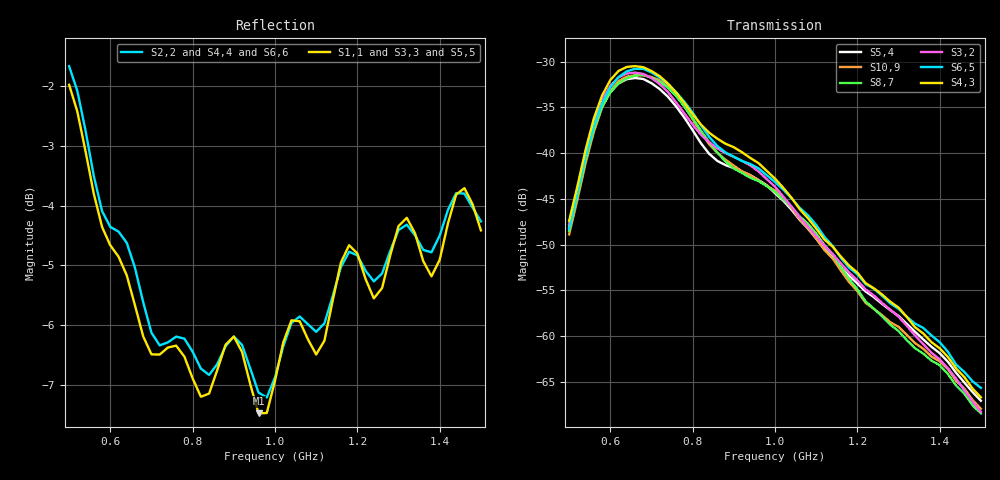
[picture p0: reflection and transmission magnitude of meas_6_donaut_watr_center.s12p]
! Converted from meas_6_donaut_watr_center.mat
! MATLAB 5.0 MAT-file, Platform: PCWIN64, Created on: Sat Nov 21 15:09:11 2026
! Ports 1-12 = antennas 1-12; IFBW=1000 Hz, power=0 dBm, doCalibration flag=0
! SW_A serial 12410080206: antennas 1 3 5 7 9 11
! SW_B serial 12410080235: antennas 2 4 6 8 10 12
! WARNING: Sij (i!=j) between two odd or two even ports was NOT MEASURED (NaN in source).
! Those entries are written as 0 0 placeholders. Do not treat them as data.
! Reference impedance 50 ohm is assumed (not stored in source).
# Hz S RI R 50
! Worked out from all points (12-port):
!   51 points, 500 MHz to 1.5 GHz, reference 50 ohm
!   strongest paths, dB at 500 MHz, 740 MHz, 1 GHz, 1.26 GHz, 1.5 GHz:
!     S4,3: -47.4, -32.4, -42.8, -55.4, -66.7
!     S6,5: -48.3, -32.5, -43.2, -55.6, -65.7
!     S3,2: -47.8, -33.3, -43.7, -56.4, -68.3
!     S8,7: -48.5, -32.9, -44.2, -57.8, -68.4
!     S10,9: -48.9, -32.7, -44.1, -57.7, -67.9
!     S5,4: -48.1, -33.8, -44.4, -56.5, -67.1
!   lowest |S11| = -7.5 dB at 960 MHz (marker M1), VSWR 2.46, Z = 24.3 - j20 ohm
!   |S11| at or under -10 dB: nowhere
